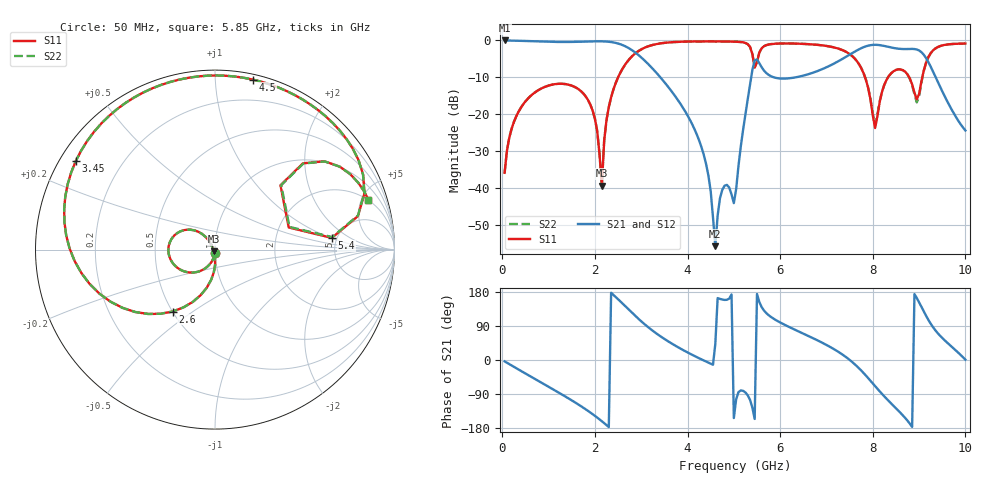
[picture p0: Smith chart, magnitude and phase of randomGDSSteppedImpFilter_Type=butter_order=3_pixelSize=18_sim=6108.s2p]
! freq	dB(S11)	phase(S11)	dB(S12)	phase(S12)
!  dB(S21)	phase(S21)	dB(S22)	phase(S22)
!S-par simulation data
#  GHz  S  DB  R 50
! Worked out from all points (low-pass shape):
!   200 points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, 50 MHz to 10 GHz, reference 50 ohm
!   highest |S21| = -0.01 dB at 50 MHz (marker M1); lowest = -55.6 dB at 4.6 GHz (marker M2)
!   |S21| within 3 dB of the highest: start of sweep to 2.844 GHz; 7.613 GHz to 9.032 GHz (1.419 GHz wide, 17.1 % of centre)
!   lowest |S11| = -39.2 dB at 2.15 GHz (marker M3), VSWR 1.02, Z = 49.3 - j0.856 ohm
!   |S11| at or under -10 dB: start of sweep to 2.5 GHz; 7.834 GHz to 8.329 GHz (494.6 MHz wide, 6.12 % of centre); 8.788 GHz to 9.069 GHz (280.8 MHz wide, 3.15 % of centre)
!   |S22| runs from -39.0 to -0.3 dB; largest |S21 - S12| = 0
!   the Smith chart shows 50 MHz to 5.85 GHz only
!   S11 on the Smith chart (normalised r, x): 50 MHz: 1.00, -0.03; 2.6 GHz: 0.50, -0.42; 3.45 GHz: 0.05, +0.29; 4.5 GHz: 0.04, +1.25; 5.4 GHz: 4.54, +1.03; 5.85 GHz: 1.95, +5.65
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0.05  -35.77 -93.4  -0.01 -3.6  -0.01 -3.6  -35.77 -93.4
0.55  -15.76 -129.7  -0.17 -39.2  -0.17 -39.2  -15.76 -129.6
1.75  -14.35 144.6  -0.33 -125.9  -0.33 -125.9  -14.35 144.7
2  -21.16 126.3  -0.24 -147.3  -0.24 -147.3  -21.16 126.5
2.15  -39.22 -127.6  -0.24 -161.6  -0.24 -161.6  -39.01 -128.5
2.3  -18.01 -92.9  -0.36 -177.1  -0.36 -177.1  -18.00 -93.0
2.6  -7.57 -124.4  -1.27 148.5  -1.27 148.5  -7.57 -124.5
3.4  -0.83 151.8  -9.77 63.8  -9.77 63.8  -0.83 151.8
3.45  -0.73 147.6  -10.51 59.6  -10.51 59.6  -0.73 147.7
4.5  -0.26 77.3  -40.71 -9.6  -40.71 -9.6  -0.26 77.4
4.6  -0.26 71.4  -55.60 42.5  -55.60 42.5  -0.26 71.5
4.75  -0.28 62.5  -40.38 159.5  -40.38 159.5  -0.28 62.6
5.05  -0.35 43.6  -40.15 -103.5  -40.15 -103.5  -0.35 43.7
5.4  -3.68 5.7  -7.99 -125.6  -7.99 -125.6  -3.65 6.1
5.85  -0.93 18.0  -9.91 109.6  -9.91 109.6  -0.92 18.0
6.7  -1.08 -29.8  -8.75 58.1  -8.75 58.1  -1.08 -29.7
7.75  -7.45 -108.1  -2.10 -27.7  -2.10 -27.7  -7.43 -107.4
8.05  -23.68 -66.6  -1.18 -68.9  -1.18 -68.9  -22.76 -67.2
8.35  -9.57 -24.5  -1.78 -108.9  -1.78 -108.9  -9.56 -26.1
8.85  -11.90 -62.4  -2.29 -176.6  -2.29 -176.6  -12.12 -65.2
9.1  -8.18 6.9  -3.85 128.6  -3.85 128.6  -8.33 8.9
10  -0.85 -68.8  -24.33 1.0  -24.33 1.0  -0.85 -68.6
